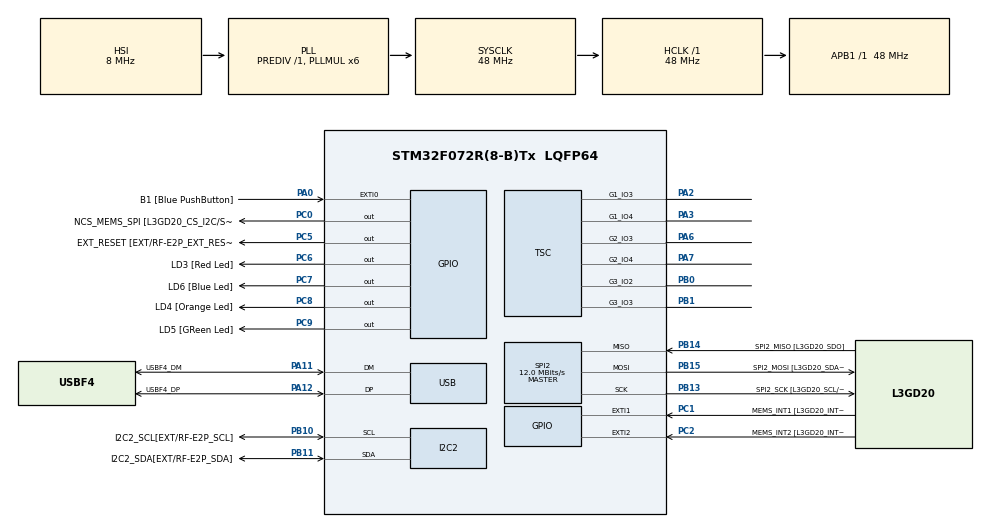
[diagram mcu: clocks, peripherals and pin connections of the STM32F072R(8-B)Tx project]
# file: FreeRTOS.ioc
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FREERTOS.Tasks01=defaultTask,0,128,StartDefaultTask,Default,NULL,Dynamic,NULL,NULL;myTaskLed,-3,128,StartTaskLed,Default,NULL,Dynamic,NULL,NULL
I2C2.Timing=0x20303E5D
Mcu.Family=STM32F0
Mcu.Name=STM32F072R(8-B)Tx
Mcu.Package=LQFP64
PA0.GPIO_Label=B1 [Blue PushButton]
PA0.GPIO_ModeDefaultEXTI=GPIO_MODE_EVT_RISING
PA0.Signal=GPXTI0
PA11.GPIO_Label=USBF4_DM
PA11.Mode=Device
PA11.Signal=USB_DM
PA12.GPIO_Label=USBF4_DP
PA12.Mode=Device
PA12.Signal=USB_DP
PA13.GPIO_Label=SWDIO
PA13.Mode=Serial_Wire
PA13.Signal=SYS_SWDIO
PA14.GPIO_Label=SWCLK
PA14.Mode=Serial_Wire
PA14.Signal=SYS_SWCLK
PA2.Mode=G1_IO3-Sampling
PA2.Signal=TSC_G1_IO3
PA3.Mode=G1_IO4-Channel
PA3.Signal=TSC_G1_IO4
PA6.Mode=G2_IO3-Sampling
PA6.Signal=TSC_G2_IO3
PA7.Mode=G2_IO4-Channel
PA7.Signal=TSC_G2_IO4
PB0.Mode=G3_IO2-Sampling
PB0.Signal=TSC_G3_IO2
PB1.Mode=G3_IO3-Channel
PB1.Signal=TSC_G3_IO3
PB10.GPIO_Label=I2C2_SCL[EXT/RF-E2P_SCL]
PB10.Mode=I2C
PB10.Signal=I2C2_SCL
PB11.GPIO_Label=I2C2_SDA[EXT/RF-E2P_SDA]
PB11.Mode=I2C
PB11.Signal=I2C2_SDA
PB13.GPIO_Label=SPI2_SCK [L3GD20_SCL/SPC]
PB13.Mode=Full_Duplex_Master
PB13.Signal=SPI2_SCK
PB14.GPIO_Label=SPI2_MISO [L3GD20_SDO]
PB14.Mode=Full_Duplex_Master
PB14.Signal=SPI2_MISO
PB15.GPIO_Label=SPI2_MOSI [L3GD20_SDA/SDI]
PB15.Mode=Full_Duplex_Master
PB15.Signal=SPI2_MOSI
PC0.GPIO_Label=NCS_MEMS_SPI [L3GD20_CS_I2C/SPI]
PC0.Signal=GPIO_Output
PC1.GPIO_Label=MEMS_INT1 [L3GD20_INT1]
PC1.GPIO_ModeDefaultEXTI=GPIO_MODE_EVT_RISING
PC1.Signal=GPXTI1
PC2.GPIO_Label=MEMS_INT2 [L3GD20_INT2]
PC2.GPIO_ModeDefaultEXTI=GPIO_MODE_EVT_RISING
PC2.Signal=GPXTI2
PC5.GPIO_Label=EXT_RESET [EXT/RF-E2P_EXT_RESET]
PC5.Signal=GPIO_Output
PC6.GPIO_Label=LD3 [Red Led]
PC6.Signal=GPIO_Output
PC7.GPIO_Label=LD6 [Blue Led]
PC7.Signal=GPIO_Output
PC8.GPIO_Label=LD4 [Orange Led]
PC8.Signal=GPIO_Output
PC9.GPIO_Label=LD5 [GReen Led]
PC9.Signal=GPIO_Output
ProjectManager.HeapSize=0x200
ProjectManager.StackSize=0x400
ProjectManager.TargetToolchain=SW4STM32
RCC.AHBFreq_Value=48000000
RCC.APB1Freq_Value=48000000
RCC.APB1TimFreq_Value=48000000
RCC.HCLKFreq_Value=48000000
RCC.PLLMUL=RCC_PLL_MUL6
RCC.SYSCLKFreq_VALUE=48000000
RCC.SYSCLKSource=RCC_SYSCLKSOURCE_PLLCLK
SPI2.BaudRatePrescaler=SPI_BAUDRATEPRESCALER_4
SPI2.CalculateBaudRate=12.0 MBits/s
SPI2.Direction=SPI_DIRECTION_2LINES
SPI2.Mode=SPI_MODE_MASTER
SPI2.VirtualType=VM_MASTER
USB.phy_itface=PCD_PHY_EMBEDDED
USB.speed=PCD_SPEED_FULL
VP_FREERTOS_VS_ENABLE.Mode=Enabled
board=32F072BDISCOVERY

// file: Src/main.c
/**
  ******************************************************************************
  * @file           : main.c
  * @brief          : Main program body
  ******************************************************************************
  * This notice applies to any and all portions of this file
  * that are not between comment pairs USER CODE BEGIN and
  * USER CODE END. Other portions of this file, whether
  * inserted by the user or by software development tools
  * are owned by their respective copyright owners.
  *
  * Copyright (c) 2018 STMicroelectronics International N.V.
  * All rights reserved.
  *
  * Redistribution and use in source and binary forms, with or without
  * modification, are permitted, provided that the following conditions are met:
  *
  * 1. Redistribution of source code must retain the above copyright notice,
  *    this list of conditions and the following disclaimer.
  * 2. Redistributions in binary form must reproduce the above copyright notice,
  *    this list of conditions and the following disclaimer in the documentation
  *    and/or other materials provided with the distribution.
  * 3. Neither the name of STMicroelectronics nor the names of other
  *    contributors to this software may be used to endorse or promote products
  *    derived from this software without specific written permission.
  * 4. This software, including modifications and/or derivative works of this
  *    software, must execute solely and exclusively on microcontroller or
  *    microprocessor devices manufactured by or for STMicroelectronics.
  * 5. Redistribution and use of this software other than as permitted under
  *    this license is void and will automatically terminate your rights under
  *    this license.
  *
  * THIS SOFTWARE IS PROVIDED BY STMICROELECTRONICS AND CONTRIBUTORS "AS IS"
  * AND ANY EXPRESS, IMPLIED OR STATUTORY WARRANTIES, INCLUDING, BUT NOT
  * LIMITED TO, THE IMPLIED WARRANTIES OF MERCHANTABILITY, FITNESS FOR A
  * PARTICULAR PURPOSE AND NON-INFRINGEMENT OF THIRD PARTY INTELLECTUAL PROPERTY
  * RIGHTS ARE DISCLAIMED TO THE FULLEST EXTENT PERMITTED BY LAW. IN NO EVENT
  * SHALL STMICROELECTRONICS OR CONTRIBUTORS BE LIABLE FOR ANY DIRECT, INDIRECT,
  * INCIDENTAL, SPECIAL, EXEMPLARY, OR CONSEQUENTIAL DAMAGES (INCLUDING, BUT NOT
  * LIMITED TO, PROCUREMENT OF SUBSTITUTE GOODS OR SERVICES; LOSS OF USE, DATA,
  * OR PROFITS; OR BUSINESS INTERRUPTION) HOWEVER CAUSED AND ON ANY THEORY OF
  * LIABILITY, WHETHER IN CONTRACT, STRICT LIABILITY, OR TORT (INCLUDING
  * NEGLIGENCE OR OTHERWISE) ARISING IN ANY WAY OUT OF THE USE OF THIS SOFTWARE,
  * EVEN IF ADVISED OF THE POSSIBILITY OF SUCH DAMAGE.
  *
  ******************************************************************************
  */
#include "main.h"
#include "stm32f0xx_hal.h"
#include "cmsis_os.h"

I2C_HandleTypeDef hi2c2;

SPI_HandleTypeDef hspi2;

TSC_HandleTypeDef htsc;

PCD_HandleTypeDef hpcd_USB_FS;

osThreadId defaultTaskHandle;
osThreadId myTaskLedHandle;

/* USER CODE BEGIN PV */
/* Private variables ---------------------------------------------------------*/

/* USER CODE END PV */

void SystemClock_Config(void);
static void MX_GPIO_Init(void);
static void MX_I2C2_Init(void);
static void MX_SPI2_Init(void);
static void MX_TSC_Init(void);
static void MX_USB_PCD_Init(void);
void StartDefaultTask(void const * argument);
void StartTaskLed(void const * argument);

/* USER CODE BEGIN PFP */
/* Private function prototypes -----------------------------------------------*/

/* USER CODE END PFP */

int main(void)
{

  /* MCU Configuration----------------------------------------------------------*/

  /* Reset of all peripherals, Initializes the Flash interface and the Systick. */
  HAL_Init();

  /* Configure the system clock */
  SystemClock_Config();

  /* Initialize all configured peripherals */
  MX_GPIO_Init();
  MX_I2C2_Init();
  MX_SPI2_Init();
  MX_TSC_Init();
  MX_USB_PCD_Init();

  /* Create the thread(s) */
  /* definition and creation of defaultTask */
  osThreadDef(defaultTask, StartDefaultTask, osPriorityNormal, 0, 128);
  defaultTaskHandle = osThreadCreate(osThread(defaultTask), NULL);

  /* definition and creation of myTaskLed */
  osThreadDef(myTaskLed, StartTaskLed, osPriorityIdle, 0, 128);
  myTaskLedHandle = osThreadCreate(osThread(myTaskLed), NULL);

  /* Start scheduler */
  osKernelStart();

  /* We should never get here as control is now taken by the scheduler */

  /* Infinite loop */
  while (1)
  {

  }

}

void SystemClock_Config(void)
{

  RCC_OscInitTypeDef RCC_OscInitStruct;
  RCC_ClkInitTypeDef RCC_ClkInitStruct;
  RCC_PeriphCLKInitTypeDef PeriphClkInit;

    /**Initializes the CPU, AHB and APB busses clocks
    */
  RCC_OscInitStruct.OscillatorType = RCC_OSCILLATORTYPE_HSI|RCC_OSCILLATORTYPE_HSI48;
  RCC_OscInitStruct.HSIState = RCC_HSI_ON;
  RCC_OscInitStruct.HSI48State = RCC_HSI48_ON;
  RCC_OscInitStruct.HSICalibrationValue = 16;
  RCC_OscInitStruct.PLL.PLLState = RCC_PLL_ON;
  RCC_OscInitStruct.PLL.PLLSource = RCC_PLLSOURCE_HSI;
  RCC_OscInitStruct.PLL.PLLMUL = RCC_PLL_MUL6;
  RCC_OscInitStruct.PLL.PREDIV = RCC_PREDIV_DIV1;
  if (HAL_RCC_OscConfig(&RCC_OscInitStruct) != HAL_OK)
  {
    _Error_Handler(__FILE__, __LINE__);
  }

    /**Initializes the CPU, AHB and APB busses clocks
    */
  RCC_ClkInitStruct.ClockType = RCC_CLOCKTYPE_HCLK|RCC_CLOCKTYPE_SYSCLK
                              |RCC_CLOCKTYPE_PCLK1;
  RCC_ClkInitStruct.SYSCLKSource = RCC_SYSCLKSOURCE_PLLCLK;
  RCC_ClkInitStruct.AHBCLKDivider = RCC_SYSCLK_DIV1;
  RCC_ClkInitStruct.APB1CLKDivider = RCC_HCLK_DIV1;

  if (HAL_RCC_ClockConfig(&RCC_ClkInitStruct, FLASH_LATENCY_1) != HAL_OK)
  {
    _Error_Handler(__FILE__, __LINE__);
  }

  PeriphClkInit.PeriphClockSelection = RCC_PERIPHCLK_USB;
  PeriphClkInit.UsbClockSelection = RCC_USBCLKSOURCE_HSI48;

  if (HAL_RCCEx_PeriphCLKConfig(&PeriphClkInit) != HAL_OK)
  {
    _Error_Handler(__FILE__, __LINE__);
  }

    /**Configure the Systick interrupt time
    */
  HAL_SYSTICK_Config(HAL_RCC_GetHCLKFreq()/1000);

    /**Configure the Systick
    */
  HAL_SYSTICK_CLKSourceConfig(SYSTICK_CLKSOURCE_HCLK);

  /* SysTick_IRQn interrupt configuration */
  HAL_NVIC_SetPriority(SysTick_IRQn, 3, 0);
}

/* I2C2 init function */
static void MX_I2C2_Init(void)
{

  hi2c2.Instance = I2C2;
  hi2c2.Init.Timing = 0x20303E5D;
  hi2c2.Init.OwnAddress1 = 0;
  hi2c2.Init.AddressingMode = I2C_ADDRESSINGMODE_7BIT;
  hi2c2.Init.DualAddressMode = I2C_DUALADDRESS_DISABLE;
  hi2c2.Init.OwnAddress2 = 0;
  hi2c2.Init.OwnAddress2Masks = I2C_OA2_NOMASK;
  hi2c2.Init.GeneralCallMode = I2C_GENERALCALL_DISABLE;
  hi2c2.Init.NoStretchMode = I2C_NOSTRETCH_DISABLE;
  if (HAL_I2C_Init(&hi2c2) != HAL_OK)
  {
    _Error_Handler(__FILE__, __LINE__);
  }

    /**Configure Analogue filter
    */
  if (HAL_I2CEx_ConfigAnalogFilter(&hi2c2, I2C_ANALOGFILTER_ENABLE) != HAL_OK)
  {
    _Error_Handler(__FILE__, __LINE__);
  }

    /**Configure Digital filter
    */
  if (HAL_I2CEx_ConfigDigitalFilter(&hi2c2, 0) != HAL_OK)
  {
    _Error_Handler(__FILE__, __LINE__);
  }

}

/* SPI2 init function */
static void MX_SPI2_Init(void)
{

  /* SPI2 parameter configuration*/
  hspi2.Instance = SPI2;
  hspi2.Init.Mode = SPI_MODE_MASTER;
  hspi2.Init.Direction = SPI_DIRECTION_2LINES;
  hspi2.Init.DataSize = SPI_DATASIZE_4BIT;
  hspi2.Init.CLKPolarity = SPI_POLARITY_LOW;
  hspi2.Init.CLKPhase = SPI_PHASE_1EDGE;
  hspi2.Init.NSS = SPI_NSS_SOFT;
  hspi2.Init.BaudRatePrescaler = SPI_BAUDRATEPRESCALER_4;
  hspi2.Init.FirstBit = SPI_FIRSTBIT_MSB;
  hspi2.Init.TIMode = SPI_TIMODE_DISABLE;
  hspi2.Init.CRCCalculation = SPI_CRCCALCULATION_DISABLE;
  hspi2.Init.CRCPolynomial = 7;
  hspi2.Init.CRCLength = SPI_CRC_LENGTH_DATASIZE;
  hspi2.Init.NSSPMode = SPI_NSS_PULSE_ENABLE;
  if (HAL_SPI_Init(&hspi2) != HAL_OK)
  {
    _Error_Handler(__FILE__, __LINE__);
  }

}

/* TSC init function */
static void MX_TSC_Init(void)
{

    /**Configure the TSC peripheral
    */
  htsc.Instance = TSC;
  htsc.Init.CTPulseHighLength = TSC_CTPH_2CYCLES;
  htsc.Init.CTPulseLowLength = TSC_CTPL_2CYCLES;
  htsc.Init.SpreadSpectrum = DISABLE;
  htsc.Init.SpreadSpectrumDeviation = 1;
  htsc.Init.SpreadSpectrumPrescaler = TSC_SS_PRESC_DIV1;
  htsc.Init.PulseGeneratorPrescaler = TSC_PG_PRESC_DIV4;
  htsc.Init.MaxCountValue = TSC_MCV_8191;
  htsc.Init.IODefaultMode = TSC_IODEF_OUT_PP_LOW;
  htsc.Init.SynchroPinPolarity = TSC_SYNC_POLARITY_FALLING;
  htsc.Init.AcquisitionMode = TSC_ACQ_MODE_NORMAL;
  htsc.Init.MaxCountInterrupt = DISABLE;
  htsc.Init.ChannelIOs = TSC_GROUP1_IO4|TSC_GROUP2_IO4|TSC_GROUP3_IO3;
  htsc.Init.ShieldIOs = 0;
  htsc.Init.SamplingIOs = TSC_GROUP1_IO3|TSC_GROUP2_IO3|TSC_GROUP3_IO2;
  if (HAL_TSC_Init(&htsc) != HAL_OK)
  {
    _Error_Handler(__FILE__, __LINE__);
  }

}

/* USB init function */
static void MX_USB_PCD_Init(void)
{

  hpcd_USB_FS.Instance = USB;
  hpcd_USB_FS.Init.dev_endpoints = 8;
  hpcd_USB_FS.Init.speed = PCD_SPEED_FULL;
  hpcd_USB_FS.Init.ep0_mps = DEP0CTL_MPS_64;
  hpcd_USB_FS.Init.phy_itface = PCD_PHY_EMBEDDED;
  hpcd_USB_FS.Init.low_power_enable = DISABLE;
  hpcd_USB_FS.Init.lpm_enable = DISABLE;
  hpcd_USB_FS.Init.battery_charging_enable = DISABLE;
  if (HAL_PCD_Init(&hpcd_USB_FS) != HAL_OK)
  {
    _Error_Handler(__FILE__, __LINE__);
  }

}

/** Configure pins as
        * Analog
        * Input
        * Output
        * EVENT_OUT
        * EXTI
*/
static void MX_GPIO_Init(void)
{

  GPIO_InitTypeDef GPIO_InitStruct;

  /* GPIO Ports Clock Enable */
  __HAL_RCC_GPIOC_CLK_ENABLE();
  __HAL_RCC_GPIOA_CLK_ENABLE();
  __HAL_RCC_GPIOB_CLK_ENABLE();

  /*Configure GPIO pin Output Level */
  HAL_GPIO_WritePin(GPIOC, NCS_MEMS_SPI_Pin|EXT_RESET_Pin|LD3_Pin|LD6_Pin
                          |LD4_Pin|LD5_Pin, GPIO_PIN_RESET);

  /*Configure GPIO pins : NCS_MEMS_SPI_Pin EXT_RESET_Pin LD3_Pin LD6_Pin
                           LD4_Pin LD5_Pin */
  GPIO_InitStruct.Pin = NCS_MEMS_SPI_Pin|EXT_RESET_Pin|LD3_Pin|LD6_Pin
                          |LD4_Pin|LD5_Pin;
  GPIO_InitStruct.Mode = GPIO_MODE_OUTPUT_PP;
  GPIO_InitStruct.Pull = GPIO_NOPULL;
  GPIO_InitStruct.Speed = GPIO_SPEED_FREQ_LOW;
  HAL_GPIO_Init(GPIOC, &GPIO_InitStruct);

  /*Configure GPIO pins : MEMS_INT1_Pin MEMS_INT2_Pin */
  GPIO_InitStruct.Pin = MEMS_INT1_Pin|MEMS_INT2_Pin;
  GPIO_InitStruct.Mode = GPIO_MODE_EVT_RISING;
  GPIO_InitStruct.Pull = GPIO_NOPULL;
  HAL_GPIO_Init(GPIOC, &GPIO_InitStruct);

  /*Configure GPIO pin : B1_Pin */
  GPIO_InitStruct.Pin = B1_Pin;
  GPIO_InitStruct.Mode = GPIO_MODE_EVT_RISING;
  GPIO_InitStruct.Pull = GPIO_NOPULL;
  HAL_GPIO_Init(B1_GPIO_Port, &GPIO_InitStruct);

}

/* USER CODE BEGIN 4 */

enum{
	ledAzul_state = 0,
	ledOrange_state = 1,
	ledRed_state = 2,
	ledGreen_state = 3
};

static void ClearLeds(void){
	HAL_GPIO_WritePin(LD6_GPIO_Port, LD6_Pin, 0);
	HAL_GPIO_WritePin(LD5_GPIO_Port, LD5_Pin, 0);
	HAL_GPIO_WritePin(LD4_GPIO_Port, LD4_Pin, 0);
	HAL_GPIO_WritePin(LD3_GPIO_Port, LD3_Pin, 0);
}

static void UpdateLeds(void){
	static uint8_t LedState = 0;

	ClearLeds();

	switch(LedState){
		case ledAzul_state:

			HAL_GPIO_WritePin(LD6_GPIO_Port, LD6_Pin, 1);
			LedState = ledOrange_state;
			break;
		case ledGreen_state:

			HAL_GPIO_WritePin(LD5_GPIO_Port, LD5_Pin, 1);
			LedState = ledAzul_state;
			break;
		case ledOrange_state:

			HAL_GPIO_WritePin(LD4_GPIO_Port, LD4_Pin, 1);
			LedState = ledRed_state;
			break;
		case ledRed_state:

			HAL_GPIO_WritePin(LD3_GPIO_Port, LD3_Pin, 1);
			LedState = ledGreen_state;
		break;
	}
}

/* USER CODE END 4 */

/* StartDefaultTask function */
void StartDefaultTask(void const * argument)
{

  /* USER CODE BEGIN 5 */
  /* Infinite loop */
  for(;;)
  {

	  UpdateLeds();

	  osDelay(100);
  }
  /* USER CODE END 5 */
}

/* StartTaskLed function */
void StartTaskLed(void const * argument)
{
  for(;;)
  {
  }
}

void _Error_Handler(char *file, int line)
{
  while(1)
  {
  }
}

/************************ (C) COPYRIGHT STMicroelectronics *****END OF FILE****/
